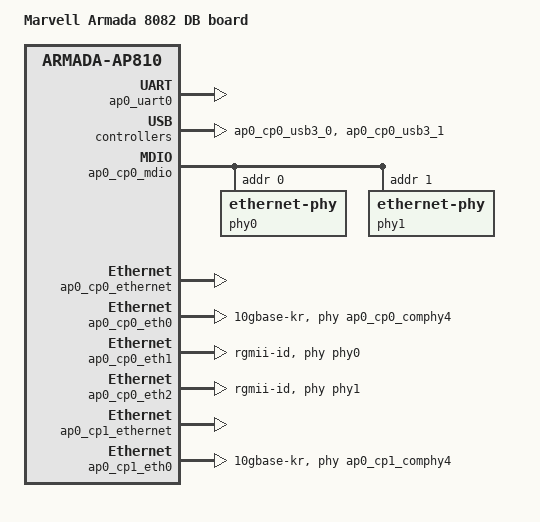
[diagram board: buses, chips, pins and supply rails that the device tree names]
// SPDX-License-Identifier: (GPL-2.0+ OR MIT)
/*
 * Copyright (C) 2018 Marvell Technology Group Ltd.
 *
 * Device Tree file for Marvell Armada-8082 Development board platform
 */

#include "armada-8082.dtsi"

/ {
	model = "Marvell Armada 8082 DB board";
	compatible = "marvell,armada-8082-db", "marvell,armada-8082",
		"marvell,armada-ap810";

	chosen {
		stdout-path = "serial0:115200n8";
	};

	memory0@ap0 {
		device_type = "memory";
		reg = <0x0 0x0 0x0 0x80000000>;
	};

	aliases {
		ethernet0 = &ap0_cp0_eth0;
		ethernet1 = &ap0_cp0_eth1;
		ethernet2 = &ap0_cp0_eth2;
		ethernet3 = &ap0_cp1_eth0;
	};
};

&ap0_uart0 {
	clock-frequency = <200000000>;
	status = "okay";
};

&ap0_cp0_usb3_0 {
        status = "okay";
};

&ap0_cp0_usb3_1 {
        status = "okay";
};

&ap0_cp0_mdio {
	status = "okay";

	phy0: ethernet-phy@0 {
		reg = <0>;
	};

	phy1: ethernet-phy@1 {
		reg = <1>;
	};
};

&ap0_cp0_ethernet {
	status = "okay";
};

&ap0_cp0_eth0 {
	status = "okay";
	phy-mode = "10gbase-kr";
	/* Generic PHY, providing serdes lanes */
	phys = <&ap0_cp0_comphy4 0>;
};

&ap0_cp0_eth1 {
	status = "okay";
	phy = <&phy0>;
	phy-mode = "rgmii-id";
};

&ap0_cp0_eth2 {
	status = "okay";
	phy = <&phy1>;
	phy-mode = "rgmii-id";
};

&ap0_cp1_ethernet {
	status = "okay";
};

&ap0_cp1_eth0 {
	status = "okay";
	phy-mode = "10gbase-kr";
	/* Generic PHY, providing serdes lanes */
	phys = <&ap0_cp1_comphy4 0>;
};
